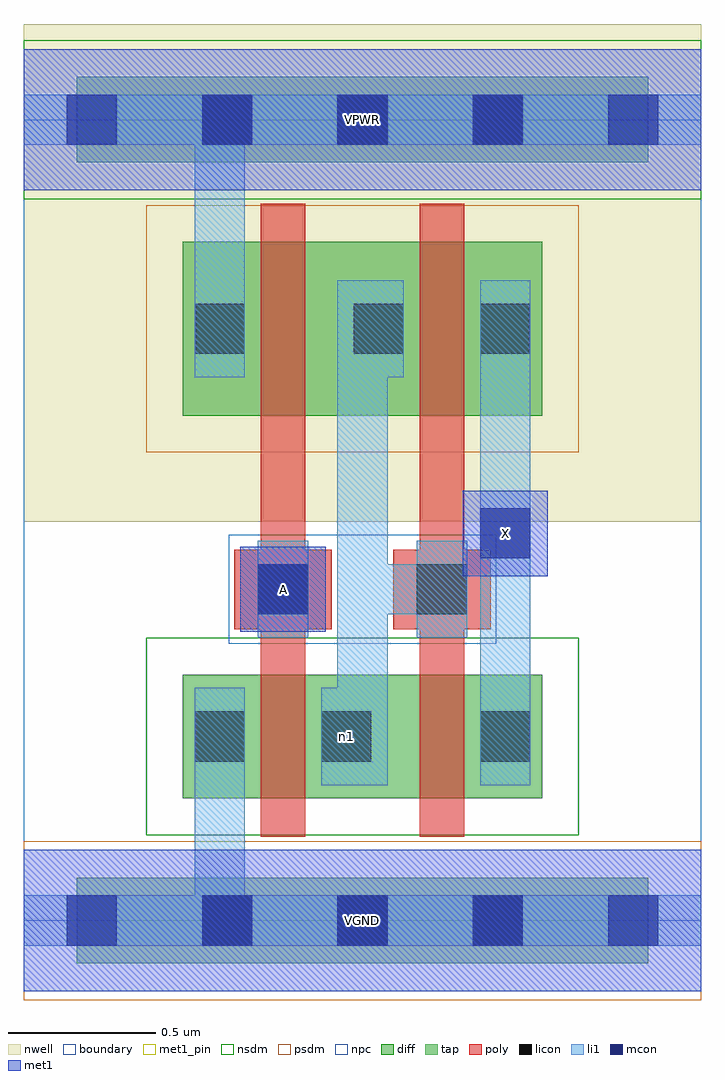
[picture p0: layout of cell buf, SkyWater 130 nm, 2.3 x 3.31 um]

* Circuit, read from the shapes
.subckt buf A VGND VPWR X n1
XM1 n1 A VGND VGND sky130_fd_pr__nfet_01v8 w=0.42 l=0.15
XM2 X n1 n1 VGND sky130_fd_pr__nfet_01v8 w=0.42 l=0.15
XM3 n1 A VPWR VPWR sky130_fd_pr__pfet_01v8 w=0.59 l=0.15
XM4 X n1 n1 VPWR sky130_fd_pr__pfet_01v8 w=0.59 l=0.15
.ends

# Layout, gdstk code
import gdstk
lib = gdstk.Library(unit=1e-6, precision=1e-09)
def R(c, l, rs):  # rectangles x0, y0, x1, y1
    for r in rs: c.add(gdstk.rectangle(r[:2], r[2:], *l))
def A(c, l, x, y, w, h, nx, ny, dx, dy):  # array of equal rectangles
    R(c, l, [(x+i*dx, y+j*dy, x+i*dx+w, y+j*dy+h) for i in range(nx) for j in range(ny)])
nwell = (64, 20)
diff = (65, 20)
tap = (65, 44)
poly = (66, 20)
licon = (66, 44)
li1 = (67, 20)
mcon = (67, 44)
met1_pin = (68, 16)
met1 = (68, 20)
nsdm = (93, 44)
psdm = (94, 20)
npc = (95, 20)
boundary = (235, 4)

buf = lib.new_cell('buf')
R(buf, nwell, [(0,1.355,2.3,3.045)])
R(buf, diff, [(0.54,0.415,1.76,0.835), (0.54,1.715,1.76,2.305)])
R(buf, tap, [(0.18,-0.145,2.12,0.145), (0.18,2.575,2.12,2.865)])
R(buf, poly, [(0.805,0.285,0.955,2.435), (1.345,0.285,1.495,2.435), (0.715,0.99,1.045,1.26), (1.255,0.99,1.585,1.26)])
A(buf, licon, 0.605, -0.085, 0.17, 0.17, 3, 2, 0.46, 2.72)
R(buf, licon, [(0.58,0.54,0.75,0.71), (1.01,0.54,1.18,0.71), (1.55,0.54,1.72,0.71), (0.795,1.04,0.965,1.21), (1.335,1.04,1.505,1.21), (0.58,1.925,0.75,2.095), (1.12,1.925,1.29,2.095), (1.55,1.925,1.72,2.095)])
R(buf, li1, [(0,-0.085,2.3,0.085), (0.58,-0.085,0.75,0.79), (0.58,0.46,0.75,0.79), (1.01,0.46,1.18,0.79), (1.065,0.46,1.235,2.175), (1.55,0.46,1.72,0.79), (1.55,0.46,1.72,2.175), (0.795,0.96,0.965,1.29), (1.335,0.96,1.505,1.29), (1.065,1.04,1.505,1.21), (0.58,1.845,0.75,2.175), (0.58,1.845,0.75,2.805), (1.12,1.845,1.29,2.175), (1.55,1.845,1.72,2.175), (0,2.635,2.3,2.805)])
A(buf, mcon, 0.145, -0.085, 0.17, 0.17, 5, 2, 0.46, 2.72)
R(buf, mcon, [(0.795,1.04,0.965,1.21), (1.55,1.23,1.72,1.4)])
R(buf, met1_pin, [(0,-0.24,2.3,0.24), (0.735,0.98,1.025,1.27), (1.49,1.17,1.78,1.46), (0,2.48,2.3,2.96)])
R(buf, met1, [(0,-0.24,2.3,0.24), (0.735,0.98,1.025,1.27), (1.49,1.17,1.78,1.46), (0,2.48,2.3,2.96)])
R(buf, nsdm, [(0.415,0.29,1.885,0.96), (0,2.45,2.3,2.99)])
R(buf, psdm, [(0,-0.27,2.3,0.27), (0.415,1.59,1.885,2.43)])
R(buf, npc, [(0.695,0.94,1.605,1.31)])
R(buf, boundary, [(0,0,2.3,2.72)])
buf.add(gdstk.Label('n1', (1.095,0.625), layer=67, texttype=5))
buf.add(gdstk.Label('A', (0.88,1.125), layer=68, texttype=5))
buf.add(gdstk.Label('X', (1.635,1.315), layer=68, texttype=5))
buf.add(gdstk.Label('VPWR', (1.15,2.72), layer=68, texttype=5))
buf.add(gdstk.Label('VGND', (1.15,0), layer=68, texttype=5))
buf.add(gdstk.Label('A', (0.88,1.125), layer=68, texttype=16))
buf.add(gdstk.Label('X', (1.635,1.315), layer=68, texttype=16))
buf.add(gdstk.Label('VPWR', (1.15,2.72), layer=68, texttype=16))
buf.add(gdstk.Label('VGND', (1.15,0), layer=68, texttype=16))

lib.write_gds('buf.gds')
